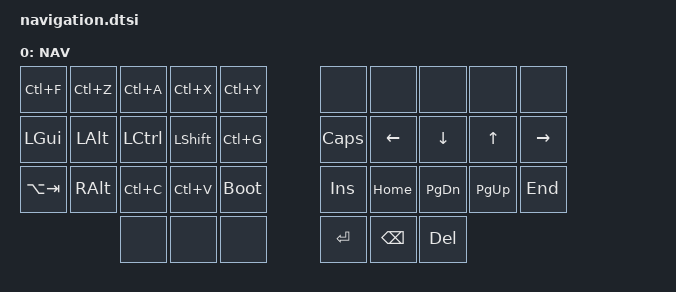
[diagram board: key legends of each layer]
/ {
	keymap {
        compatible = "zmk,keymap";

		navigation_layer {
			label = "NAV";
			bindings = <
                &kp LC(F)   &kp LC(Z)   &kp LC(A)   &kp LC(X)   &kp LC(Y)   &none       &none       &none       &none       &none 
                &kp LGUI    &kp LALT    &kp LCTL    &kp LSHFT   &kp LC(G)   &kp CAPS    &kp LEFT    &kp DOWN    &kp UP      &kp RIGHT
                &kp LA(TAB) &kp RALT    &kp LC(C)   &kp LC(V) 	&bootloader &kp INS     &kp HOME    &kp PG_DN   &kp PG_UP   &kp END
                                        &none       &none       &none       &kp RET     &kp BSPC    &kp DEL     
			>;
		};
	};
};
